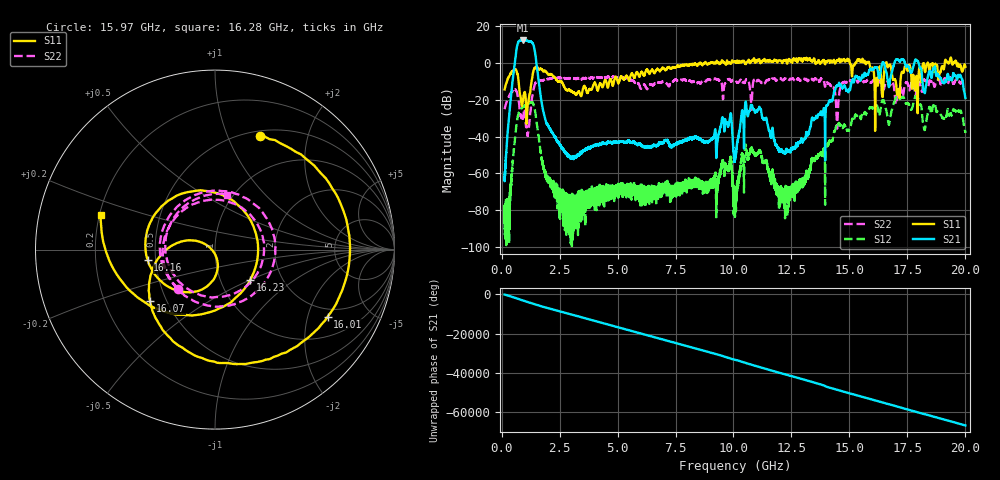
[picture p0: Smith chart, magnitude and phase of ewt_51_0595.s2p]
!Created with skrf (http://scikit-rf.org).
# GHz S RI R 50.0
!freq ReS11 ImS11 ReS21 ImS21 ReS12 ImS12 ReS22 ImS22
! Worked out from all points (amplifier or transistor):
!   20013 points, 130 MHz to 20 GHz, reference 50 ohm
!   highest |S21| = 12.2 dB at 917 MHz (marker M1)
!   |S21| within 3 dB of that: 669.3 MHz to 1.387 GHz (717.6 MHz wide, 69.8 % of centre)
!   unconditionally stable (mu >= 1): start of sweep to 8.551 GHz; 15.86 GHz to 16.56 GHz; 16.61 GHz to 18.37 GHz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
!   at 3.465 GHz: K = 414219.41, MAG = -47.8 dB, |S12| = -71.2 dB
!   at 10.14 GHz: K = -34902.49, MSG = 11.0 dB, |S12| = -68.2 dB
!   at 20 GHz: K = 122.17, MAG = -14.5 dB, |S12| = -37.8 dB
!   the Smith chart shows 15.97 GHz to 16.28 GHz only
!   S11 on the Smith chart (normalised r, x): 15.97 GHz: 0.56, +1.31; 16.01 GHz: 1.68, -2.69; 16.07 GHz: 0.41, -0.30; 16.16 GHz: 0.45, -0.06; 16.23 GHz: 1.39, -0.50; 16.28 GHz: 0.21, +0.14
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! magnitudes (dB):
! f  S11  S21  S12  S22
! 130 MHz  -14.4  -63.8  -84.0  -25.2
! 596 MHz  -3.5  2.9  -38.8  -14.5
! 917 MHz  -20.4  12.2  -24.0  -30.0
! 1.37 GHz  -4.5  9.9  -22.4  -14.7
! 2.004 GHz  -6.1  -34.1  -64.3  -8.6
! 3.442 GHz  -17.8  -48.9  -79.5  -8.9
! 6.754 GHz  -3.7  -44.6  -68.3  -10.7
! 9.824 GHz  0.0  -31.7  -55.1  -8.8
! 10.06 GHz  0.8  -52.1  -79.7  -9.0
! 10.77 GHz  0.7  -22.9  -46.3  -23.3
! 12.15 GHz  1.2  -48.3  -71.4  -9.4
! 13.38 GHz  1.1  -30.1  -52.5  -8.8
! 14.47 GHz  1.4  -12.2  -34.6  -35.2
! 15.97 GHz  -3.4  -3.8  -24.4  -10.5
! 16.01 GHz  -2.7  -3.8  -24.7  -9.9
! 16.07 GHz  -6.7  -2.8  -23.6  -9.5
! 16.16 GHz  -8.4  -2.5  -22.9  -11.2
! 16.23 GHz  -11.8  -5.0  -25.5  -11.4
! 16.28 GHz  -3.6  -8.2  -28.6  -10.1
! 16.69 GHz  -1.5  -12.5  -33.2  -11.3
! 17.1 GHz  -14.5  1.7  -18.9  -16.2
! 20 GHz  -2.2  -19.1  -37.8  -9.5
